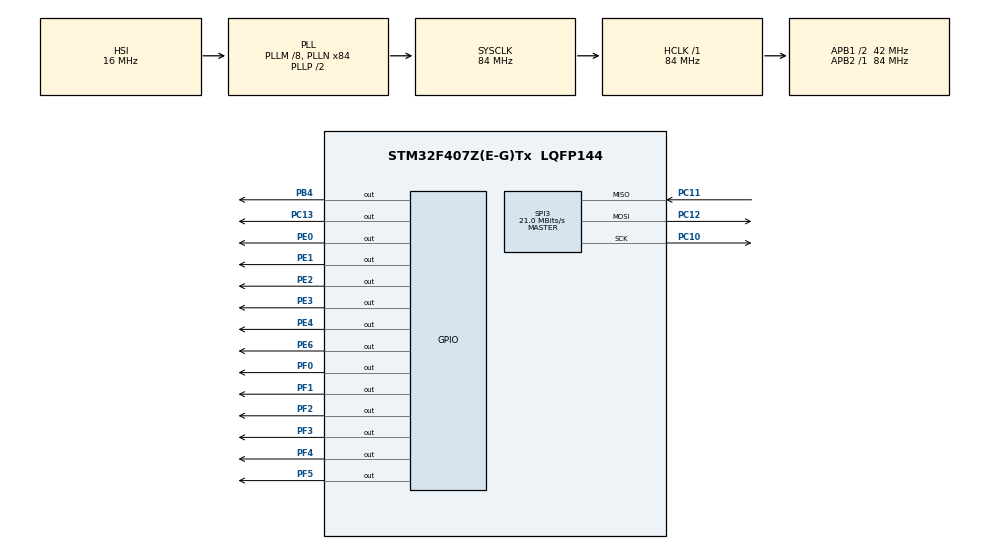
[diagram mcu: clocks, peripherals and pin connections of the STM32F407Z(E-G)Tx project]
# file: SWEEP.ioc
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Mcu.Family=STM32F4
Mcu.Name=STM32F407Z(E-G)Tx
Mcu.Package=LQFP144
NVIC.PriorityGroup=NVIC_PRIORITYGROUP_4
NVIC.SPI3_IRQn=true\:0\:0\:false\:false\:true\:true\:true\:true
PA13.Mode=Serial_Wire
PA13.Signal=SYS_JTMS-SWDIO
PA14.Mode=Serial_Wire
PA14.Signal=SYS_JTCK-SWCLK
PB4.Signal=GPIO_Output
PC10.Mode=Full_Duplex_Master
PC10.Signal=SPI3_SCK
PC11.Mode=Full_Duplex_Master
PC11.Signal=SPI3_MISO
PC12.Mode=Full_Duplex_Master
PC12.Signal=SPI3_MOSI
PC13-ANTI_TAMP.Signal=GPIO_Output
PE0.Signal=GPIO_Output
PE1.Signal=GPIO_Output
PE2.Signal=GPIO_Output
PE3.Signal=GPIO_Output
PE4.Signal=GPIO_Output
PE6.Signal=GPIO_Output
PF0.Signal=GPIO_Output
PF1.Signal=GPIO_Output
PF2.Signal=GPIO_Output
PF3.Signal=GPIO_Output
PF4.Signal=GPIO_Output
PF5.PinState=GPIO_PIN_SET
PF5.Signal=GPIO_Output
PH0-OSC_IN.Mode=HSE-External-Oscillator
PH0-OSC_IN.Signal=RCC_OSC_IN
PH1-OSC_OUT.Mode=HSE-External-Oscillator
PH1-OSC_OUT.Signal=RCC_OSC_OUT
ProjectManager.HeapSize=0x200
ProjectManager.StackSize=0x400
ProjectManager.TargetToolchain=MDK-ARM V5.32
RCC.48MHZClocksFreq_Value=42000000
RCC.AHBFreq_Value=84000000
RCC.APB1CLKDivider=RCC_HCLK_DIV2
RCC.APB1Freq_Value=42000000
RCC.APB1TimFreq_Value=84000000
RCC.APB2Freq_Value=84000000
RCC.APB2TimFreq_Value=84000000
RCC.CortexFreq_Value=84000000
RCC.HCLKFreq_Value=84000000
RCC.HSE_VALUE=25000000
RCC.HSI_VALUE=16000000
RCC.LSE_VALUE=32768
RCC.PLLM=8
RCC.PLLN=84
RCC.SYSCLKFreq_VALUE=84000000
RCC.SYSCLKSource=RCC_SYSCLKSOURCE_PLLCLK
RCC.VCOOutputFreq_Value=168000000
SPI3.CalculateBaudRate=21.0 MBits/s
SPI3.Direction=SPI_DIRECTION_2LINES
SPI3.Mode=SPI_MODE_MASTER
SPI3.VirtualType=VM_MASTER
board=custom

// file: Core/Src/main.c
/* USER CODE BEGIN Header */
/**
  ******************************************************************************
  * @file           : main.c
  * @brief          : Main program body
  ******************************************************************************
  * @attention
  *
  * Copyright (c) 2025 STMicroelectronics.
  * All rights reserved.
  *
  * This software is licensed under terms that can be found in the LICENSE file
  * in the root directory of this software component.
  * If no LICENSE file comes with this software, it is provided AS-IS.
  *
  ******************************************************************************
  */
/* USER CODE END Header */
#include "main.h"
#include "spi.h"
#include "gpio.h"

/* USER CODE BEGIN Includes */
#include "AD9959.h"
/* USER CODE END Includes */

/* USER CODE BEGIN PV */
uint16_t fre=0;
uint16_t flag=0;
uint16_t fremax=0;
uint16_t fremin=0;
uint16_t mode=0;
uint16_t count=0;
/* USER CODE END PV */

void SystemClock_Config(void);
/* USER CODE BEGIN PFP */
void AD9959_sweep(uint16_t fre,uint16_t flag,uint16_t fremax,uint16_t fremin,uint16_t speed);
/* USER CODE END PFP */

int main(void)
{

  /* USER CODE BEGIN 1 */
	AD9959_Init();
  /* USER CODE END 1 */

  /* MCU Configuration--------------------------------------------------------*/

  /* Reset of all peripherals, Initializes the Flash interface and the Systick. */
  HAL_Init();

  /* Configure the system clock */
  SystemClock_Config();

  /* Initialize all configured peripherals */
  MX_GPIO_Init();
  MX_SPI3_Init();
  /* USER CODE BEGIN 2 */
	AD9959_Init();								//初始化控制AD9959需要用到的IO口,及寄存器
	AD9959_Set_Fre(CH0, 100000);	//设置通道0频率100000Hz
	AD9959_Set_Fre(CH1, 100000);	//设置通道1频率100000Hz
	AD9959_Set_Fre(CH2, 100000);	//设置通道2频率100000Hz
	AD9959_Set_Fre(CH3, 100000);	//设置通道3频率100000Hz

	AD9959_Set_Amp(CH0, 1023); 		//设置通道0幅度控制值1023，范围0~1023
	AD9959_Set_Amp(CH1, 512); 		//设置通道1幅度控制值1023，范围0~1023
	AD9959_Set_Amp(CH2, 256); 		//设置通道2幅度控制值1023，范围0~1023
	AD9959_Set_Amp(CH3, 128); 		//设置通道3幅度控制值1023，范围0~1023

	AD9959_Set_Phase(CH0, 0);			//设置通道0相位控制值0(0度)，范围0~16383
	AD9959_Set_Phase(CH1, 4096);	//设置通道1相位控制值4096(90度)，范围0~16383
	AD9959_Set_Phase(CH2, 8192);	//设置通道2相位控制值8192(180度)，范围0~16383
	AD9959_Set_Phase(CH3, 12288);	//设置通道3相位控制值12288(270度)，范围0~16383
	IO_Update();	//AD9959更新数据,调用此函数后，上述操作生效！！！！

  /* USER CODE END 2 */

  /* Infinite loop */
  /* USER CODE BEGIN WHILE */
  while (1)
  {
		AD9959_sweep(
		10000,    //fre
		3,        //mode
		40000,    //fremax
		10000,     //fremin
		1000);    //speed
		HAL_Delay(100);
    /* USER CODE END WHILE */

  }
}

void SystemClock_Config(void)
{
  RCC_OscInitTypeDef RCC_OscInitStruct = {0};
  RCC_ClkInitTypeDef RCC_ClkInitStruct = {0};

  /** Configure the main internal regulator output voltage
  */
  __HAL_RCC_PWR_CLK_ENABLE();
  __HAL_PWR_VOLTAGESCALING_CONFIG(PWR_REGULATOR_VOLTAGE_SCALE1);

  /** Initializes the RCC Oscillators according to the specified parameters
  * in the RCC_OscInitTypeDef structure.
  */
  RCC_OscInitStruct.OscillatorType = RCC_OSCILLATORTYPE_HSI;
  RCC_OscInitStruct.HSIState = RCC_HSI_ON;
  RCC_OscInitStruct.HSICalibrationValue = RCC_HSICALIBRATION_DEFAULT;
  RCC_OscInitStruct.PLL.PLLState = RCC_PLL_ON;
  RCC_OscInitStruct.PLL.PLLSource = RCC_PLLSOURCE_HSI;
  RCC_OscInitStruct.PLL.PLLM = 8;
  RCC_OscInitStruct.PLL.PLLN = 84;
  RCC_OscInitStruct.PLL.PLLP = RCC_PLLP_DIV2;
  RCC_OscInitStruct.PLL.PLLQ = 4;
  if (HAL_RCC_OscConfig(&RCC_OscInitStruct) != HAL_OK)
  {
    Error_Handler();
  }

  /** Initializes the CPU, AHB and APB buses clocks
  */
  RCC_ClkInitStruct.ClockType = RCC_CLOCKTYPE_HCLK|RCC_CLOCKTYPE_SYSCLK
                              |RCC_CLOCKTYPE_PCLK1|RCC_CLOCKTYPE_PCLK2;
  RCC_ClkInitStruct.SYSCLKSource = RCC_SYSCLKSOURCE_PLLCLK;
  RCC_ClkInitStruct.AHBCLKDivider = RCC_SYSCLK_DIV1;
  RCC_ClkInitStruct.APB1CLKDivider = RCC_HCLK_DIV2;
  RCC_ClkInitStruct.APB2CLKDivider = RCC_HCLK_DIV1;

  if (HAL_RCC_ClockConfig(&RCC_ClkInitStruct, FLASH_LATENCY_2) != HAL_OK)
  {
    Error_Handler();
  }
}

/* USER CODE BEGIN 4 */
void AD9959_sweep(uint16_t fre,uint16_t mode,uint16_t fremax,uint16_t fremin,uint16_t speed)
{

	if(mode==1)
	{
		fre=fremax+count*speed;
		count--;
			AD9959_Set_Fre(CH0,fre);
		IO_Update();
	}
	if(mode==2)
	{
		fre=fremin+count*speed;
		count++;
			AD9959_Set_Fre(CH0,fre);
		IO_Update();
	}
	if(mode==3)
	{
		if(flag==0)
		{

		count++;
			fre=fremax+count*speed;
		}
		if(flag==1)
		{
		count--;
		fre=fremax+count*speed;

		}
	if(fre<fremin)
	{
	flag=0;
	}
	if(fre>fremax)
	{
		flag=1;
	}
	}
		AD9959_Set_Fre(CH0,fre);
		IO_Update();
}
/* USER CODE END 4 */

void Error_Handler(void)
{
  __disable_irq();
  while (1)
  {
  }
}
